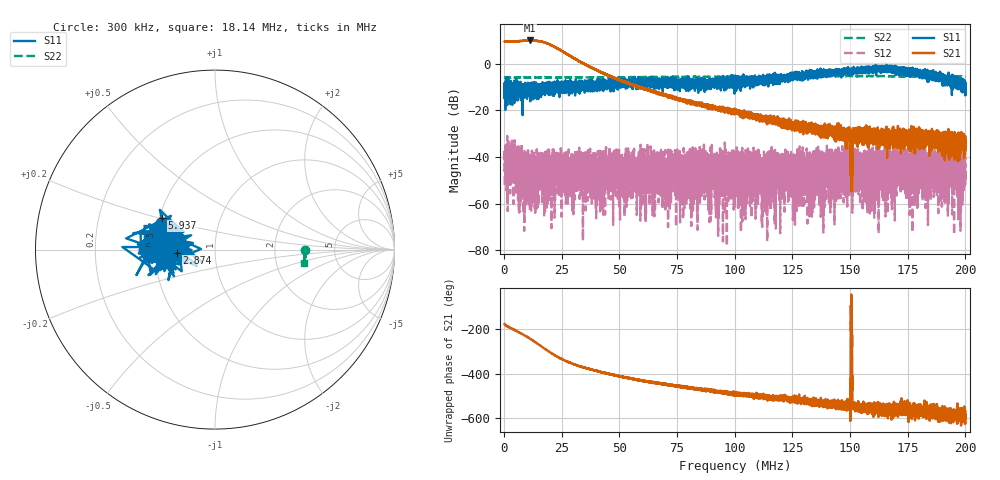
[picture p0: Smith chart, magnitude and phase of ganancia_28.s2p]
# Hz S DB R 50
! CMT, M5065, 19127446, 24.2.4/2
! Date: 10/29/2024 1:17:44 PM
! Data: Format (Calibration Info)
! Freq	S11:dB/Ang(F2)	S21:dB/Ang(F2)	S12:dB/Ang(F2)	S22:dB/Ang(F2)
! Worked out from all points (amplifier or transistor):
!   9000 points, 300 kHz to 200 MHz, reference 50 ohm
!   highest |S21| = 9.9 dB at 11.44 MHz (marker M1)
!   |S21| within 3 dB of that: start of sweep to 22.45 MHz
!   unconditionally stable (mu >= 1): start of sweep to end of sweep
!   at 33.59 MHz: K = 29.50, MAG = 2.3 dB, |S12| = -39.6 dB
!   at 100.2 MHz: K = 317.69, MAG = -17.0 dB, |S12| = -41.8 dB
!   at 200 MHz: K = 5031.13, MAG = -33.2 dB, |S12| = -48.4 dB
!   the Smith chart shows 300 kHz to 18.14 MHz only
!   S11 on the Smith chart (normalised r, x): 300 kHz: 0.49, +0.03; 2.874 MHz: 0.65, -0.02; 5.937 MHz: 0.52, +0.21; 18.14 MHz: 0.47, -0.04
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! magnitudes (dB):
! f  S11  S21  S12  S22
! 300 kHz  -9.4  9.5  -52.0  -6.0
! 1.343 MHz  -9.8  9.5  -42.4  -6.0
! 2.874 MHz  -13.4  9.5  -50.2  -6.0
! 5.937 MHz  -9.3  9.6  -42.2  -6.0
! 11.44 MHz  -16.2  9.9  -51.9  -6.0
! 18.14 MHz  -8.9  8.9  -42.5  -6.0
! 33.59 MHz  -8.9  0.4  -39.6  -6.0
! 40.69 MHz  -10.0  -3.1  -37.6  -5.9
! 66.87 MHz  -8.9  -12.8  -46.3  -5.7
! 70.25 MHz  -7.2  -13.8  -40.2  -5.7
! 73.15 MHz  -7.2  -14.6  -47.5  -5.7
! 77.28 MHz  -8.2  -16.1  -51.1  -5.7
! 85.25 MHz  -9.6  -17.8  -41.1  -5.8
! 100.2 MHz  -5.6  -19.8  -41.8  -5.7
! 133.4 MHz  -4.7  -27.1  -42.5  -5.4
! 149.1 MHz  -3.2  -32.3  -43.4  -5.3
! 150 MHz  -3.2  -30.6  -52.4  -5.3
! 150.7 MHz  -4.1  -45.7  -38.6  -5.3
! 152.2 MHz  -3.9  -32.2  -50.0  -5.3
! 166.7 MHz  -2.6  -31.6  -53.4  -5.4
! 188.9 MHz  -5.8  -32.6  -45.3  -5.5
! 200 MHz  -13.3  -34.9  -48.4  -5.5
